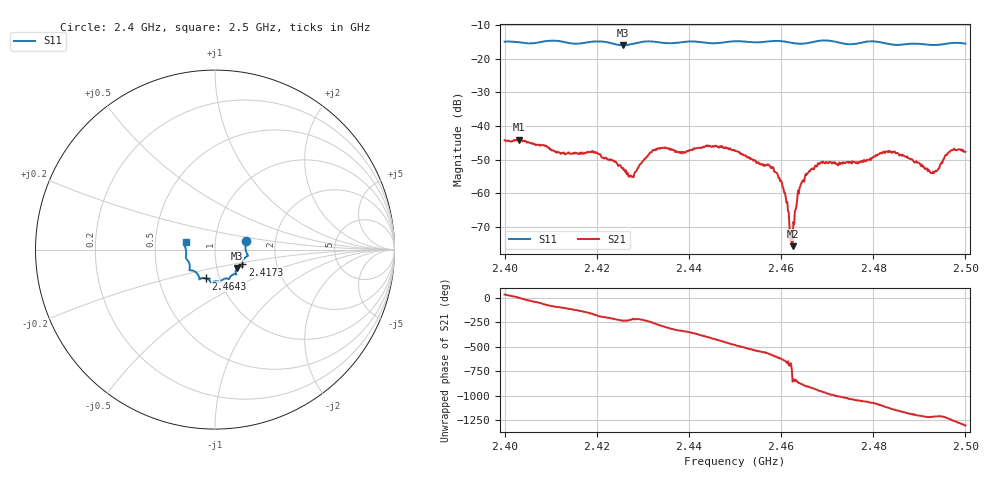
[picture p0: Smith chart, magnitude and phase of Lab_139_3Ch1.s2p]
# Hz S RI R 50
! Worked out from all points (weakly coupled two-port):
!   601 points, 2.4 GHz to 2.5 GHz, reference 50 ohm
!   highest |S21| = -44.05 dB at 2.4032 GHz (marker M1); lowest = -75.8 dB at 2.4625 GHz (marker M2)
!   lowest |S11| = -15.9 dB at 2.4257 GHz (marker M3), VSWR 1.38, Z = 62.4 - j13.1 ohm
!   |S11| at or under -10 dB: start of sweep to end of sweep
!   S12 and S22 are empty: the file has one direction only
!   S11 on the Smith chart (normalised r, x): 2.4 GHz: 1.41, +0.14; 2.4173 GHz: 1.34, -0.23; 2.4643 GHz: 0.86, -0.28; 2.5 GHz: 0.72, +0.06
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2.4e9  0.1734 0.0494  0.00523 0.0032  0 0  0 0
2.403167e9  0.1734 0.0331  0.00626 -0.000374  0 0  0 0
2.416667e9  0.1529 -0.075  -0.00292 -0.00256  0 0  0 0
2.417333e9  0.1522 -0.0825  -0.00323 -0.00225  0 0  0 0
2.420167e9  0.1544 -0.0972  -0.00392 0.00028  0 0  0 0
2.425667e9  0.1224 -0.1024  -0.00145 0.0019  0 0  0 0
2.4275e9  0.1154 -0.119  -0.00124 0.00124  0 0  0 0
2.433333e9  0.1126 -0.1366  0.000417 0.00464  0 0  0 0
2.45e9  0.0296 -0.1809  -0.00234 -0.00366  0 0  0 0
2.458667e9  -0.0207 -0.1839  -0.00103 0.00181  0 0  0 0
2.4605e9  -0.0245 -0.1807  0.000134 0.00117  0 0  0 0
2.461167e9  -0.026 -0.1772  0.000378 0.000619  0 0  0 0
2.462e9  -0.0293 -0.1723  0.000125 0.000158  0 0  0 0
2.4625e9  -0.0325 -0.1693  -0.000118 -0.000112  0 0  0 0
2.4635e9  -0.0408 -0.1639  -0.000547 -0.000603  0 0  0 0
2.464333e9  -0.0501 -0.1605  -0.0013 -0.000504  0 0  0 0
2.466667e9  -0.0762 -0.1597  -0.00217 0.000816  0 0  0 0
2.468833e9  -0.0872 -0.166  -0.00169 0.00243  0 0  0 0
2.483333e9  -0.1407 -0.0895  0.00314 -0.0029  0 0  0 0
2.492833e9  -0.1603 -0.0158  -0.00143 -0.00139  0 0  0 0
2.497e9  -0.1704 0.0263  -0.00422 -0.00114  0 0  0 0
2.5e9  -0.1634 0.0416  -0.00304 0.00281  0 0  0 0
